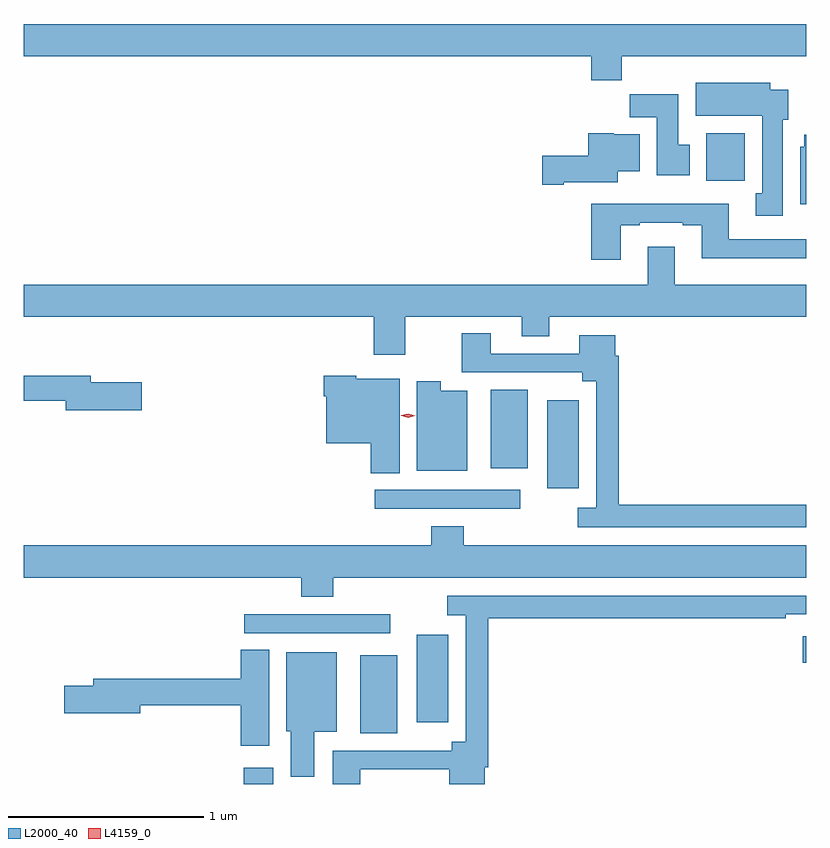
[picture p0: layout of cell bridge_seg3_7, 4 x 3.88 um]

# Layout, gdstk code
import gdstk
lib = gdstk.Library(unit=1e-6, precision=1e-09)
def R(c, l, rs):  # rectangles x0, y0, x1, y1
    for r in rs: c.add(gdstk.rectangle(r[:2], r[2:], *l))
def P(c, l, *ps):  # polygons
    for p in ps: c.add(gdstk.Polygon(p, *l))
L2000_40 = (2000, 40)
L4159_0 = (4159, 0)

bridge_seg3_7 = lib.new_cell('bridge_seg3_7')
R(bridge_seg3_7, L2000_40, [(699.719,727.833,699.871,727.915), (700.316,728.093,700.504,728.491), (700.604,728.148,700.765,728.596), (702.576,728.453,702.595,728.587), (699.723,728.604,700.468,728.7), (700.389,729.24,701.134,729.336), (701.27,729.345,701.431,729.793), (700.982,729.446,701.17,729.847), (702.083,730.916,702.28,731.158)])
P(bridge_seg3_7, L2000_40, [(701.651,731.552),(702.595,731.552),(702.595,731.716),(698.595,731.716),(698.595,731.552),(701.495,731.552),(701.495,731.428),(701.651,731.428)],
  [(702.475,731.226),(702.502,731.226),(702.502,731.38),(702.409,731.38),(702.409,731.416),(702.029,731.416),(702.029,731.246),(702.368,731.246),(702.368,730.85),(702.335,730.85),(702.335,730.737),(702.475,730.737)],
  [(701.998,731.1),(701.941,731.1),(701.941,731.358),(701.692,731.358),(701.692,731.24),(701.831,731.24),(701.831,730.944),(701.998,730.944)],
  [(701.356,730.907),(701.632,730.907),(701.632,730.964),(701.743,730.964),(701.743,731.152),(701.61,731.152),(701.61,731.158),(701.48,731.158),(701.48,731.042),(701.244,731.042),(701.244,730.895),(701.356,730.895)],
  [(702.595,731.149),(702.584,731.149),(702.584,731.088),(702.563,731.088),(702.563,730.796),(702.595,730.796)],
  [(701.647,730.689),(701.743,730.689),(701.743,730.701),(701.963,730.701),(701.963,730.689),(702.059,730.689),(702.059,730.52),(702.595,730.52),(702.595,730.617),(702.199,730.617),(702.199,730.798),(701.495,730.798),(701.495,730.512),(701.647,730.512)],
  [(700.545,730.22),(701.141,730.22),(701.141,730.121),(701.281,730.121),(701.281,730.22),(702.595,730.22),(702.595,730.384),(701.923,730.384),(701.923,730.579),(701.783,730.579),(701.783,730.384),(698.595,730.384),(698.595,730.22),(700.385,730.22),(700.385,730.026),(700.545,730.026)],
  [(702.595,729.26),(701.636,729.26),(701.636,730.022),(701.617,730.022),(701.617,730.126),(701.435,730.126),(701.435,730.032),(700.981,730.032),(700.981,730.135),(700.834,730.135),(700.834,729.936),(701.45,729.936),(701.45,729.89),(701.52,729.89),(701.52,729.244),(701.427,729.244),(701.427,729.144),(702.595,729.144)],
  [(700.516,729.904),(700.296,729.904),(700.296,729.919),(700.13,729.919),(700.13,729.815),(700.142,729.815),(700.142,729.575),(700.37,729.575),(700.37,729.421),(700.516,729.421)],
  [(699.199,729.885),(698.938,729.885),(698.938,729.919),(698.595,729.919),(698.595,729.79),(698.81,729.79),(698.81,729.743),(699.199,729.743)],
  [(700.861,729.841),(700.726,729.841),(700.726,729.892),(700.604,729.892),(700.604,729.434),(700.861,729.434)],
  [(700.178,728.888),(702.595,728.888),(702.595,729.052),(700.844,729.052),(700.844,729.151),(700.679,729.151),(700.679,729.052),(698.595,729.052),(698.595,728.888),(700.013,728.888),(700.013,728.789),(700.178,728.789)],
  [(700.315,727.908),(700.769,727.908),(700.769,727.833),(700.951,727.833),(700.951,727.918),(700.97,727.918),(700.97,728.68),(702.488,728.68),(702.488,728.7),(702.595,728.7),(702.595,728.796),(700.761,728.796),(700.761,728.696),(700.854,728.696),(700.854,728.05),(700.784,728.05),(700.784,728.004),(700.175,728.004),(700.175,727.833),(700.315,727.833)],
  [(699.85,728.519),(699.704,728.519),(699.704,728.372),(698.951,728.372),(698.951,728.336),(698.802,728.336),(698.802,728.194),(699.19,728.194),(699.19,728.236),(699.704,728.236),(699.704,728.028),(699.85,728.028)],
  [(700.081,728.099),(700.195,728.099),(700.195,728.506),(699.938,728.506),(699.938,728.103),(699.959,728.103),(699.959,727.869),(700.081,727.869)])
P(bridge_seg3_7, L4159_0, [(700.56,729.705),(700.524,729.715),(700.524,729.716),(700.524,729.716),(700.56,729.725),(700.596,729.715),(700.597,729.714),(700.596,729.714)])

lib.write_gds('bridge_seg3_7.gds')
